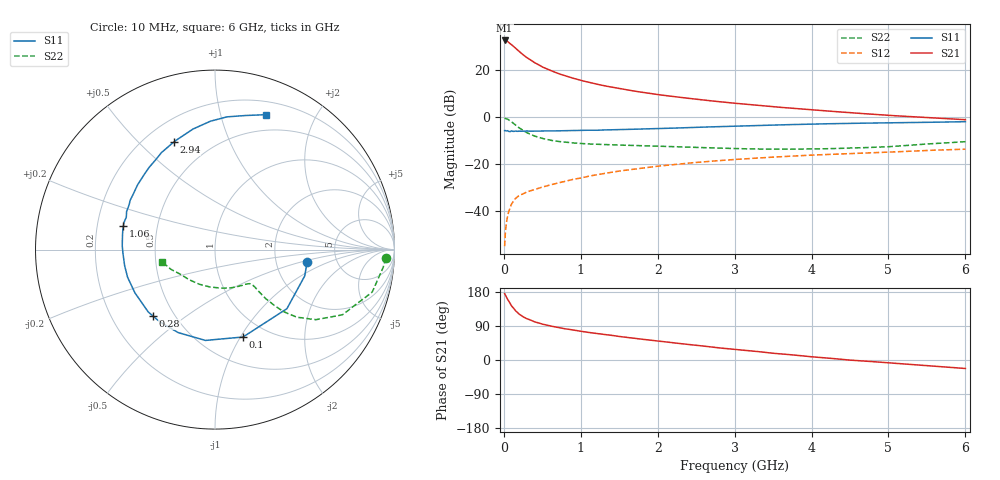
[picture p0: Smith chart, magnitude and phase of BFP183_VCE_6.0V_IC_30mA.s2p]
! Infineon Technologies  Discrete & RF Semiconductors
! BFP183
! VCE = 6.0 V,  IC =  30 mA
! Common Emitter S-Parameters:  Jan 2016
# GHz  S  MA  R  50
!  f  S11  S21  S12  S22
! GHz  MAG  ANG  MAG  ANG  MAG  ANG  MAG  ANG
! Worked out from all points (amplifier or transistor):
!   210 points, 10 MHz to 6 GHz, reference 50 ohm
!   highest |S21| = 32.7 dB at 10 MHz (marker M1)
!   |S21| within 3 dB of that: start of sweep to 141.9 MHz
!   unconditionally stable (mu >= 1): 715.4 MHz to 5.801 GHz
!   at 185 MHz: K = 0.44, MSG = 31.1 dB, |S12| = -33.7 dB
!   at 1.52 GHz: K = 1.14, MAG = 15.2 dB, |S12| = -22.8 dB
!   at 6 GHz: K = 0.97, MSG = 6.3 dB, |S12| = -13.6 dB
!   S11 on the Smith chart (normalised r, x): 10 MHz: 3.04, -0.56; 100 MHz: 0.78, -1.03; 280 MHz: 0.38, -0.38; 1.06 GHz: 0.31, +0.12; 2.94 GHz: 0.31, +0.64; 6 GHz: 0.33, +1.39
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0.01  0.5185 -7.5  43.05 175.4  0.0018 80.9  0.9523 -2.8
0.02  0.5209 -16.4  42.89 171.6  0.0035 80.5  0.9425 -6.0
0.05  0.5185 -39.4  40.85 159.5  0.0081 78.3  0.9072 -15.1
0.1  0.5114 -72.2  35.16 142.8  0.0142 63.7  0.7973 -27.1
0.15  0.5089 -96.0  29.71 130.1  0.0185 57.3  0.6841 -34.8
0.2  0.5058 -113.9  25.09 120.9  0.0217 53.8  0.5927 -39.5
0.24  0.5044 -124.6  22.06 115.5  0.023 51.8  0.5362 -41.4
0.28  0.5063 -133.1  19.64 111.0  0.0247 51.3  0.489 -42.6
0.3  0.509 -137.0  18.53 108.8  0.0257 51.3  0.4669 -43.1
0.4  0.507 -151.6  14.51 100.6  0.0289 51.3  0.3966 -44.0
0.5  0.5108 -162.4  11.78 94.7  0.0325 51.9  0.3537 -43.9
0.6  0.5114 -169.9  10 89.9  0.0361 53.3  0.325 -43.5
0.7  0.5131 -176.9  8.567 85.8  0.0397 54.3  0.3062 -43.2
1.02  0.5259 167.0  5.975 75.2  0.0517 56.1  0.2748 -44.2
1.06  0.5273 165.3  5.765 74.1  0.0536 55.8  0.2723 -44.5
1.5  0.5468 149.8  4.078 62.1  0.0716 54.8  0.2552 -49.3
2.02  0.5744 133.6  3.004 49.7  0.0914 51.2  0.2417 -58.5
2.94  0.641 111.1  2.032 29.2  0.124 42.9  0.217 -81.1
3.1  0.652 107.7  1.92 26.1  0.1291 41.4  0.2133 -85.7
4.1  0.7203 90.5  1.399 6.9  0.1586 32.1  0.2123 -117.8
5.1  0.7629 78.1  1.072 -8.9  0.1835 24.3  0.2415 -146.7
6  0.803 69.3  0.887 -22.4  0.2086 15.9  0.3016 -166.7
